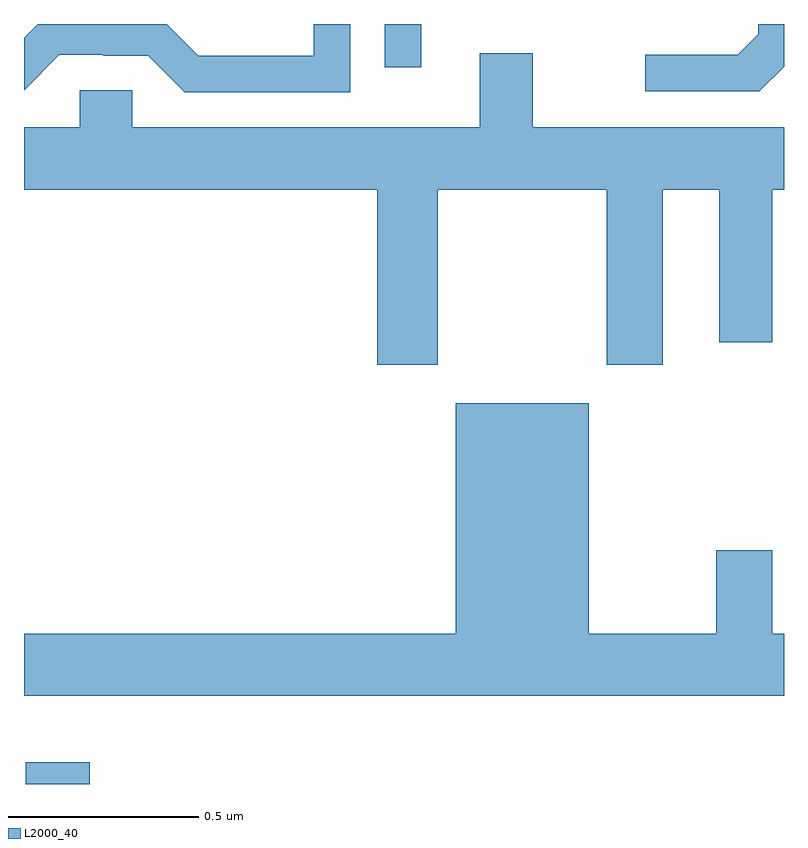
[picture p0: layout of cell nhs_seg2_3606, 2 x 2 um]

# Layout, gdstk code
import gdstk
lib = gdstk.Library(unit=1e-6, precision=1e-09)
def R(c, l, rs):  # rectangles x0, y0, x1, y1
    for r in rs: c.add(gdstk.rectangle(r[:2], r[2:], *l))
def P(c, l, *ps):  # polygons
    for p in ps: c.add(gdstk.Polygon(p, *l))
L2000_40 = (2000, 40)

nhs_seg2_3606 = lib.new_cell('nhs_seg2_3606')
R(nhs_seg2_3606, L2000_40, [(156.005,584.8,156.173,584.857), (156.949,586.686,157.045,586.8)])
P(nhs_seg2_3606, L2000_40, [(156.858,586.8),(156.762,586.8),(156.762,586.716),(156.459,586.716),(156.375,586.8),(156.036,586.8),(156,586.764),(156,586.626),(156.093,586.719),(156.209,586.719),(156.209,586.716),(156.327,586.716),(156.423,586.62),(156.858,586.62)],
  [(158,586.688),(158,586.8),(157.932,586.8),(157.932,586.773),(157.878,586.719),(157.635,586.719),(157.635,586.623),(157.935,586.623)],
  [(156.929,585.903),(157.089,585.903),(157.089,586.364),(157.534,586.364),(157.534,585.903),(157.681,585.903),(157.681,586.364),(157.829,586.364),(157.829,585.963),(157.969,585.963),(157.969,586.364),(158,586.364),(158,586.528),(157.339,586.528),(157.339,586.723),(157.199,586.723),(157.199,586.528),(156.285,586.528),(156.285,586.626),(156.147,586.626),(156.147,586.528),(156,586.528),(156,586.364),(156.929,586.364)],
  [(158,585.196),(157.969,585.196),(157.969,585.415),(157.822,585.415),(157.822,585.196),(157.486,585.196),(157.486,585.802),(157.136,585.802),(157.136,585.196),(156,585.196),(156,585.032),(158,585.032)])

lib.write_gds('nhs_seg2_3606.gds')
